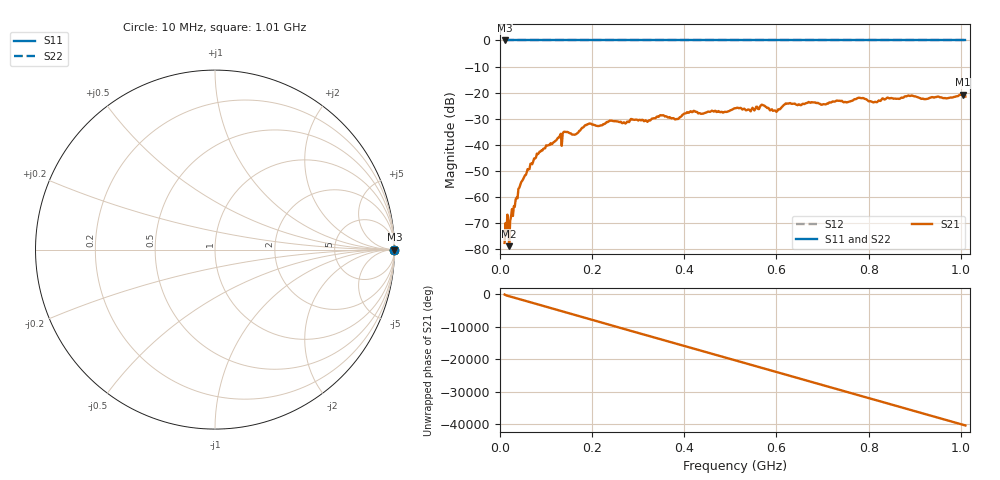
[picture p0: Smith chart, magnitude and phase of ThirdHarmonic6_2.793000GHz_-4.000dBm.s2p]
! 8/17/2025 7:13:52 AM
! C:\ANRITSUVNA\TEMP\TEMP.S2P
! CHANNEL.1
! TR.MEASUREMENT
! RAW.DATA
! RF.CORRECTION.OFF
! AVERAGING.OFF
! IF.BANDWIDTH: 5KHZ
! SWEEPTYPE:  FREQ.SWEEP(Linear)
! Reference Plane Port Info
! PORT:  PORT1  PORT2
! DISTANCE:  0  m  0  m
! TIME:  0  s  0  s
! PHASE.OFFSET:  0  deg.  0  deg.
! LOSS:  0  dB  0  dB
! REF.LOSS:  0  dB  0  dB
! REF.FREQ:  0  Hz  0  Hz
! Power Info
! POWER:  -20  dBm  -20  dBm
! EFF.POWER:  -20  dBm  -20  dBm
! SOURCE.ATTEN:  0  dB  0  dB
! TEST.ATTEN:  0  dB  0  dB
# GHZ S RI R 50.0
! FREQ.GHZ  S11RE  S11IM  S21RE  S21IM  S12RE  S12IM  S22RE  S22IM
!; PortSelection: Port_12
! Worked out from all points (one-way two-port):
!   501 points, 10 MHz to 1.01 GHz, reference 50 ohm
!   highest |S21| = -20.75 dB at 1.004 GHz (marker M1); lowest = -78.8 dB at 20 MHz (marker M2)
!   lowest |S11| = 0.0 dB at 10 MHz (marker M3)
!   |S11| at or under -10 dB: nowhere
!   |S22| runs from 0.0 to 0.0 dB; largest |S21 - S12| = 1.1
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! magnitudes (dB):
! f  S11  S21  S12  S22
! 10 MHz  0.0  -77.6  0.0  0.0
! 14 MHz  0.0  -74.1  0.0  0.0
! 20 MHz  0.0  -78.8  0.0  0.0
! 44 MHz  0.0  -55.3  0.0  0.0
! 78 MHz  0.0  -44.9  0.0  0.0
! 140 MHz  0.0  -35.0  0.0  0.0
! 162 MHz  0.0  -36.1  0.0  0.0
! 178 MHz  0.0  -33.5  0.0  0.0
! 194 MHz  0.0  -31.8  0.0  0.0
! 322 MHz  0.0  -30.8  0.0  0.0
! 344 MHz  0.0  -29.3  0.0  0.0
! 384 MHz  0.0  -30.1  0.0  0.0
! 410 MHz  0.0  -27.7  0.0  0.0
! 510 MHz  0.0  -26.0  0.0  0.0
! 540 MHz  0.0  -26.4  0.0  0.0
! 570 MHz  0.0  -24.7  0.0  0.0
! 598 MHz  0.0  -26.9  0.0  0.0
! 624 MHz  0.0  -24.1  0.0  0.0
! 678 MHz  0.0  -23.7  0.0  0.0
! 844 MHz  0.0  -22.2  0.0  0.0
! 1.004 GHz  0.0  -20.7  0.0  0.0
! 1.01 GHz  0.0  -21.5  0.0  0.0
